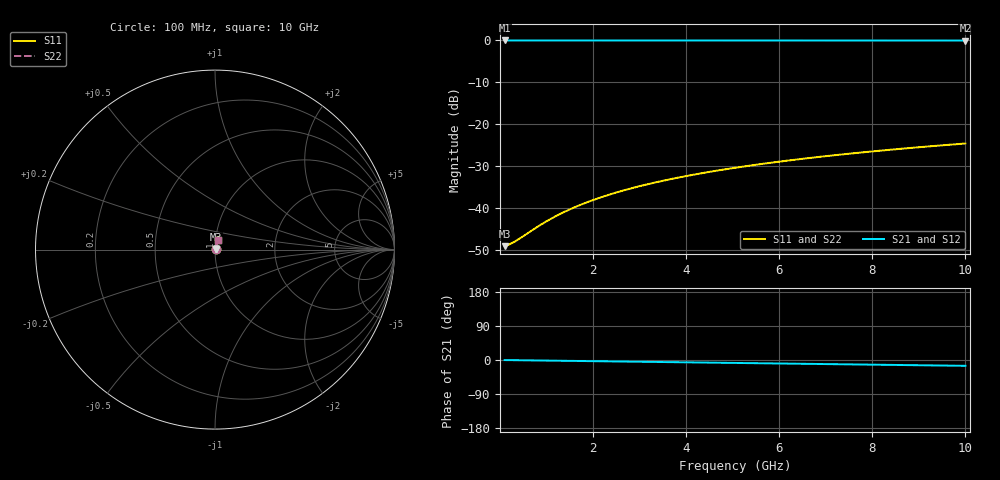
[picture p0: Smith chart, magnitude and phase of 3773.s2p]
# Hz S RI R 50.00
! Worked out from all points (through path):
!   100 points, 100 MHz to 10 GHz, reference 50 ohm
!   highest |S21| = -0.03 dB at 100 MHz (marker M1); lowest = 0.0 dB at 10 GHz (marker M2)
!   group delay of S21, straight-line fit = 4.27 ps
!   lowest |S11| = -49.1 dB at 100 MHz (marker M3), VSWR 1.01, Z = 50.3 + j0.0588 ohm
!   |S11| at or under -10 dB: start of sweep to end of sweep
!   |S22| runs from -49.1 to -24.6 dB; largest |S21 - S12| = 0
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1e8  0.00344 0.000584  0.9966 -0.00267  0.9966 -0.00267  0.00344 0.000584
2e8  0.00347 0.00117  0.9965 -0.00535  0.9965 -0.00535  0.00347 0.00117
3e8  0.00349 0.00175  0.9965 -0.00802  0.9965 -0.00802  0.00349 0.00175
4e8  0.00351 0.00234  0.9964 -0.0107  0.9964 -0.0107  0.00351 0.00234
8e8  0.00363 0.00467  0.9962 -0.0214  0.9962 -0.0214  0.00363 0.00467
1.1e9  0.00374 0.00642  0.996 -0.0294  0.996 -0.0294  0.00374 0.00642
1.4e9  0.00387 0.00817  0.9957 -0.0374  0.9957 -0.0374  0.00387 0.00817
1.6e9  0.00397 0.00933  0.9954 -0.0427  0.9954 -0.0427  0.00397 0.00933
1.8e9  0.00409 0.0105  0.9952 -0.0481  0.9952 -0.0481  0.00409 0.0105
2.1e9  0.00428 0.0122  0.9947 -0.0561  0.9947 -0.0561  0.00428 0.0122
2.5e9  0.00459 0.0145  0.994 -0.0668  0.994 -0.0668  0.00459 0.0145
2.9e9  0.00494 0.0169  0.9932 -0.0774  0.9932 -0.0774  0.00494 0.0169
3.4e9  0.00545 0.0197  0.992 -0.0907  0.992 -0.0907  0.00545 0.0197
3.8e9  0.00591 0.022  0.9909 -0.1014  0.9909 -0.1014  0.00591 0.022
4.2e9  0.00642 0.0243  0.9896 -0.112  0.9896 -0.112  0.00642 0.0243
4.6e9  0.00698 0.0266  0.9883 -0.1226  0.9883 -0.1226  0.00698 0.0266
5.1e9  0.00775 0.0294  0.9865 -0.1358  0.9865 -0.1358  0.00775 0.0294
5.9e9  0.00913 0.0338  0.9831 -0.1569  0.9831 -0.1569  0.00913 0.0338
6.7e9  0.0107 0.0382  0.9793 -0.178  0.9793 -0.178  0.0107 0.0382
7.5e9  0.0125 0.0425  0.9751 -0.1989  0.9751 -0.1989  0.0125 0.0425
8.4e9  0.0147 0.0473  0.9697 -0.2223  0.9697 -0.2223  0.0147 0.0473
1e10  0.0191 0.0554  0.9587 -0.2636  0.9587 -0.2636  0.0191 0.0554
